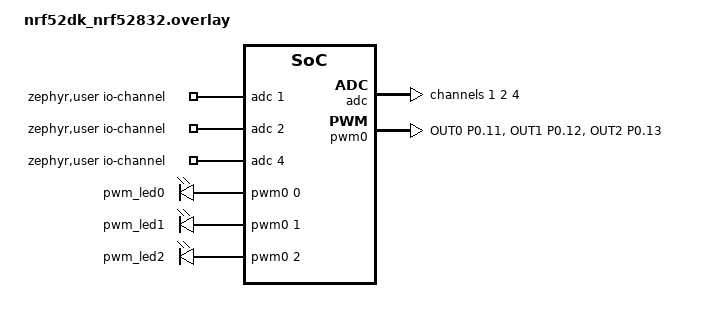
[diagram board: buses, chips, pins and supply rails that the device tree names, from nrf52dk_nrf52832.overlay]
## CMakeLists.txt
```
cmake_minimum_required(VERSION 3.20.0)
find_package(Zephyr REQUIRED HINTS $ENV{ZEPHYR_BASE})

project(RGB_LED)

target_include_directories(app PRIVATE include)

target_sources(app PRIVATE 
    src/main.c
    src/peripheral_vals.c
)
```

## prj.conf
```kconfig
CONFIG_GPIO=y
CONFIG_ADC=y
CONFIG_PWM=y
CONFIG_LED=y
CONFIG_LED_PWM=y
CONFIG_CBPRINTF_FP_SUPPORT=y
CONFIG_FPU=y
```

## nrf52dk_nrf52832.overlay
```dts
/ {
	zephyr,user {
		io-channels = <&adc 1>, <&adc 2>, <&adc 4>;
	};
};

&adc {
	#address-cells = <1>;
	#size-cells = <0>;
	status = "okay";

	adc_ch1: channel@1 {
		reg = <1>;
		zephyr,gain = "ADC_GAIN_1_6";
		zephyr,reference = "ADC_REF_INTERNAL";
		zephyr,acquisition-time = <ADC_ACQ_TIME_DEFAULT>;
		zephyr,input-positive = <NRF_SAADC_AIN1>;
		zephyr,resolution = <12>; 
	};

    adc_ch2: channel@2 {
		reg = <2>;
		zephyr,gain = "ADC_GAIN_1_6";
		zephyr,reference = "ADC_REF_INTERNAL";
		zephyr,acquisition-time = <ADC_ACQ_TIME_DEFAULT>;
		zephyr,input-positive = <NRF_SAADC_AIN2>;
		zephyr,resolution = <12>;
	};

    adc_ch4: channel@4 {
		reg = <4>;
		zephyr,gain = "ADC_GAIN_1_6";
		zephyr,reference = "ADC_REF_INTERNAL";
		zephyr,acquisition-time = <ADC_ACQ_TIME_DEFAULT>;
		zephyr,input-positive = <NRF_SAADC_AIN4>;
		zephyr,resolution = <12>;
	};
};

/{
    pwmleds {
        compatible = "pwm-leds";
        pwm_led0: pwm_led_0 {
            pwms = <&pwm0 0 PWM_MSEC(20) PWM_POLARITY_NORMAL>;
        };
		pwm_led1: pwm_led_1 {
            pwms = <&pwm0 1 PWM_MSEC(20) PWM_POLARITY_NORMAL>;
        };
		pwm_led2: pwm_led_2 {
            pwms = <&pwm0 2 PWM_MSEC(20) PWM_POLARITY_NORMAL>;
        };
    };
};

&pwm0 {
    status = "okay";
    pinctrl-0 = <&pwm0_custom>;
    pinctrl-1 = <&pwm0_csleep>;
    pinctrl-names = "default", "sleep";
};

&pinctrl {
    pwm0_custom: pwm0_custom {
        group1 {
            psels = <NRF_PSEL(PWM_OUT0, 0, 11)>,
					<NRF_PSEL(PWM_OUT1, 0, 12)>,
					<NRF_PSEL(PWM_OUT2, 0, 13)>;
            nordic,invert;
        };
    };

    pwm0_csleep: pwm0_csleep {
        group1 {
            psels = <NRF_PSEL(PWM_OUT0, 0, 11)>,
					<NRF_PSEL(PWM_OUT1, 0, 12)>,
					<NRF_PSEL(PWM_OUT2, 0, 13)>;
        };
    };
};
```

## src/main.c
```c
#include "header.h"
// [0] For Red, [1] For Green, [2] For Green
static const struct pwm_dt_spec pwm_led[NUMBER_OF_CHANNELS] = {
        PWM_DT_SPEC_GET(DT_NODELABEL(pwm_led0)),
        PWM_DT_SPEC_GET(DT_NODELABEL(pwm_led1)),
        PWM_DT_SPEC_GET(DT_NODELABEL(pwm_led2)),
};

static uint8_t idx, err;
static uint32_t pulse_width[3];
float percent_PW[3];

int main (void) {
        for (idx = 0; idx < NUMBER_OF_CHANNELS; idx++) {
                if (!pwm_is_ready_dt(&pwm_led[idx])) {
                        printk("PWM %d Module is not ready!\n", idx);
                }
        }

        while (true) {
                k_mutex_lock(&my_mutex, K_FOREVER);
                
                for (idx = 0; idx < NUMBER_OF_CHANNELS; idx++) {
                        percent_PW[idx] = last_stable_buf[idx] / MAX_RAW_READ;
                        pulse_width[idx] = percent_PW[idx] * PWM_PERIOD;
                        err = pwm_set_dt(&pwm_led[idx], PWM_PERIOD, pulse_width[idx]);
                        if (err < 0) {
                                printk("Error setting Pulse Width for Module: %d.", err);
                        };
                }
                printk("\033[2;1HActuated: Channel 1 Raw = %d, Channel 2 Raw = %d, Channel 4 Raw = %d.", last_stable_buf[0], last_stable_buf[1], last_stable_buf[2]);
                k_mutex_unlock(&my_mutex);
                k_msleep(100);
        }
        return 0;
}
```

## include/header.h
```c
#ifndef _DEFINES_H
#define _DEFINES_H

#include <zephyr/kernel.h>
#include <stdio.h>
#include <stdlib.h>
#include <zephyr/device.h>
#include <zephyr/sys/printk.h> 
#include <zephyr/drivers/pwm.h>
#include <zephyr/drivers/adc.h>
#include <zephyr/drivers/gpio.h>

#define MY_PRIORITY                 5
#define MY_STACK_SIZE               1024
#define NUMBER_OF_CHANNELS          3
#define DEADZONE_THRESHOLD          25
#define MAX_RAW_READ                4095.0f
#define PWM_PERIOD                  20000000.0f

void peripheral_thread_entry(void *p1, void *p2, void *p3);

extern struct k_mutex my_mutex;
extern uint16_t last_stable_buf[];

// -----------------------------
// Logic Levels and Booleans
// -----------------------------
#define ON              (1u)
#define OFF             (0u)

#define TRUE            (1u)
#define FALSE           (0u)

#define ENABLED         (1u)
#define DISABLED        (0u)

#define HIGH            (1u)
#define LOW             (0u)
    
// -----------------------------
// Timing Constants
// -----------------------------
#define ONE_SECOND          (1000u)
#define HALF_SECOND         (500u)
#define QUARTER_SECOND      (250u)

#define MS_TO_NS(ms)        ((uint64_t)(ms) * 1000000ULL);
#define PWM_PERIOD_NS       10000000

#endif
```

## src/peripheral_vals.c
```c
#include "header.h"
K_THREAD_DEFINE(pot_thread_id, MY_STACK_SIZE, peripheral_thread_entry, NULL, NULL, NULL, MY_PRIORITY, 0, 0);
uint16_t last_stable_buf[NUMBER_OF_CHANNELS] = {0,0,0};
struct k_mutex my_mutex;

void peripheral_thread_entry(void *p1, void *p2, void *p3) {

k_mutex_init(&my_mutex);

static uint8_t idx;
int16_t buf[NUMBER_OF_CHANNELS];
int16_t diff[NUMBER_OF_CHANNELS];

static const struct adc_dt_spec adc_channel[NUMBER_OF_CHANNELS] = {
    ADC_DT_SPEC_GET_BY_IDX(DT_PATH(zephyr_user), 0),
    ADC_DT_SPEC_GET_BY_IDX(DT_PATH(zephyr_user), 1),
    ADC_DT_SPEC_GET_BY_IDX(DT_PATH(zephyr_user), 2),
};

static const struct adc_dt_spec* p_adc_channel[NUMBER_OF_CHANNELS] = {
    &adc_channel[0], &adc_channel[1], &adc_channel[2]
};

struct adc_sequence sequence = {
        .channels = 0b10110,
        .buffer = &buf,
	    .buffer_size = sizeof(buf),
        .calibrate = true,
        .resolution  = 12,
};   

for (idx = 0; idx < NUMBER_OF_CHANNELS; idx++) {
        if (!adc_is_ready_dt(p_adc_channel[idx])) {
            printk("ADC channel %d is not ready.", idx+1);
            return;
        }

        if (adc_channel_setup_dt(p_adc_channel[idx]) != 0) {
            printk("Could not setup channel %d.", idx+1);
            return;
        }
}  

while (true) {
        int err = (adc_read_dt(p_adc_channel[0], &sequence));
        if (err != 0) {
            printk("Could not read channel! Error Code %d.", err);
            return;
        }

        k_mutex_lock(&my_mutex, K_FOREVER);
        for (idx = 0; idx < NUMBER_OF_CHANNELS; idx++) {
                diff[idx] = abs(buf[idx] - last_stable_buf[idx]);
                if (diff[idx] > DEADZONE_THRESHOLD) {
                        last_stable_buf[idx] = buf[idx];
                        if (last_stable_buf[idx] < 12) {
                            last_stable_buf[idx] = 0;
                        } 
                        if (last_stable_buf[idx] > 3430) {
                            last_stable_buf[idx] = MAX_RAW_READ;
                        }
                }
        }
        printk("\033[1;1HSent: Channel 1 Raw = %d, Channel 2 Raw = %d, Channel 4 Raw = %d.", last_stable_buf[0], last_stable_buf[1], last_stable_buf[2]);
        k_mutex_unlock(&my_mutex);
        k_msleep(100);
        }
    return;
}
```
